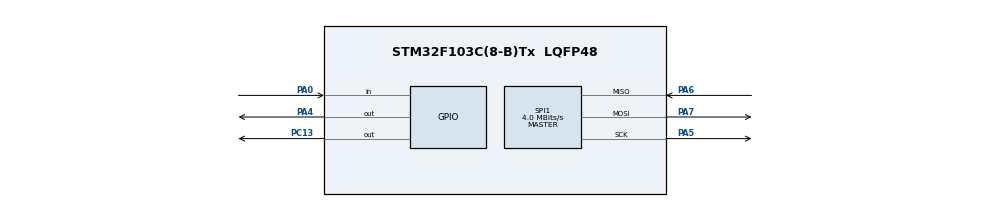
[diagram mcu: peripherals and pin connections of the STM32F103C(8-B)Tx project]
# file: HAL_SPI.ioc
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Mcu.Family=STM32F1
Mcu.Name=STM32F103C(8-B)Tx
Mcu.Package=LQFP48
NVIC.PriorityGroup=NVIC_PRIORITYGROUP_4
PA0-WKUP.GPIO_PuPd=GPIO_PULLUP
PA0-WKUP.Signal=GPIO_Input
PA13.Mode=Serial_Wire
PA13.Signal=SYS_JTMS-SWDIO
PA14.Mode=Serial_Wire
PA14.Signal=SYS_JTCK-SWCLK
PA4.GPIO_Speed=GPIO_SPEED_FREQ_HIGH
PA4.PinState=GPIO_PIN_SET
PA4.Signal=GPIO_Output
PA5.Mode=Full_Duplex_Master
PA5.Signal=SPI1_SCK
PA6.Mode=Full_Duplex_Master
PA6.Signal=SPI1_MISO
PA7.Mode=Full_Duplex_Master
PA7.Signal=SPI1_MOSI
PC13-TAMPER-RTC.GPIO_ModeDefaultOutputPP=GPIO_MODE_OUTPUT_OD
PC13-TAMPER-RTC.GPIO_PuPd=GPIO_NOPULL
PC13-TAMPER-RTC.PinState=GPIO_PIN_SET
PC13-TAMPER-RTC.Signal=GPIO_Output
ProjectManager.HeapSize=0x200
ProjectManager.StackSize=0x400
ProjectManager.TargetToolchain=MDK-ARM V5.32
RCC.APB1Freq_Value=8000000
RCC.APB2Freq_Value=8000000
SPI1.CLKPhase=SPI_PHASE_2EDGE
SPI1.CLKPolarity=SPI_POLARITY_HIGH
SPI1.CalculateBaudRate=4.0 MBits/s
SPI1.Direction=SPI_DIRECTION_2LINES
SPI1.Mode=SPI_MODE_MASTER
SPI1.VirtualType=VM_MASTER
board=custom

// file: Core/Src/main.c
/* USER CODE BEGIN Header */
/**
 ******************************************************************************
 * @file           : main.c
 * @brief          : Main program body
 ******************************************************************************
 * @attention
 *
 * Copyright (c) 2026 STMicroelectronics.
 * All rights reserved.
 *
 * This software is licensed under terms that can be found in the LICENSE file
 * in the root directory of this software component.
 * If no LICENSE file comes with this software, it is provided AS-IS.
 *
 ******************************************************************************
 */
/* USER CODE END Header */
#include "main.h"

/* USER CODE BEGIN PD */
#define KEY_SAMPLE_INTERVAL_MS 2u // 每隔 2 ms 记录一次按键电平
#define W25Q_RECORD_ADDRESS 0x000000u // 第 0 扇区作为按键事件日志区
#define W25Q_RECORD_SECTOR_SIZE 4096u // W25Q 扇区大小
#define DISPLAY_RECORD_COUNT 10u      // OLED 显示最近 10 条记录
#define W25Q_TIMEOUT_MS 5000u        // Flash 擦写最长等待时间
#define OLED_ADDRESS 0x3Cu           // SSD1306 常用 7 位 I2C 地址
/* USER CODE END PD */

static SPI_HandleTypeDef hspi1;

/* USER CODE BEGIN PV */
static uint8_t key_cur = 1;   // 当前确认的稳定按键电平
static uint8_t key_history = 0xFFu; // 最近 8 次采样记录：1=松开，0=按下
static uint32_t key_sample_tick = 0u; // 上一次按键采样时刻
static uint8_t button_records[DISPLAY_RECORD_COUNT] = {0}; // 最近 10 次按键事件
static uint8_t button_record_count = 0u;
static uint16_t flash_record_index = 0u; // Flash 中下一条日志的偏移
/* USER CODE END PV */

static void SystemClock_Config(void);
static void MX_GPIO_Init(void);
static void MX_SPI1_Init(void);
/* USER CODE BEGIN PFP */
static uint8_t W25Q_TransferByte(uint8_t data);
static HAL_StatusTypeDef W25Q_WaitReady(uint32_t timeout_ms);
static uint8_t W25Q_ReadByte(uint32_t address);
static void ButtonRecord_Init(void);
static HAL_StatusTypeDef ButtonRecord_Append(uint8_t value);
static void OLED_Init(void);
static void OLED_ShowButtonRecords(void);

/* USER CODE END PFP */

int main(void)
{

  /* MCU Configuration--------------------------------------------------------*/

  /* Reset of all peripherals, Initializes the Flash interface and the Systick. */
  HAL_Init();

  /* Configure the system clock */
  SystemClock_Config();

  /* Initialize all configured peripherals */
  MX_GPIO_Init();
  MX_SPI1_Init();
  /* USER CODE BEGIN 2 */
  key_cur = (uint8_t)HAL_GPIO_ReadPin(GPIOA, GPIO_PIN_0); // 读取上电时的实际按键电平
  key_history = key_cur == GPIO_PIN_SET ? 0xFFu : 0x00u; // 用初始电平填满采样记录
  key_sample_tick = HAL_GetTick();                       // 初始化周期采样时基
  ButtonRecord_Init();
  OLED_Init();
  OLED_ShowButtonRecords();
  /* USER CODE END 2 */

  /* Infinite loop */
  /* USER CODE BEGIN WHILE */
  while (1)
  {
    if ((HAL_GetTick() - key_sample_tick) >= KEY_SAMPLE_INTERVAL_MS)
    {
      key_sample_tick = HAL_GetTick();
      key_history = (uint8_t)((key_history << 1) |
                              (uint8_t)HAL_GPIO_ReadPin(GPIOA, GPIO_PIN_0)); // 记录最新一次采样

      if ((key_history == 0x00u) && (key_cur != GPIO_PIN_RESET)) // 最近 8 次均为低电平
      {
        key_cur = GPIO_PIN_RESET; // 综合采样结果，确认按键按下
        HAL_GPIO_WritePin(GPIOC, GPIO_PIN_13, GPIO_PIN_RESET); // LED 点亮
        (void)ButtonRecord_Append(1u);
        OLED_ShowButtonRecords(); // 按下记录 1
      }
      else if ((key_history == 0xFFu) && (key_cur != GPIO_PIN_SET)) // 最近 8 次均为高电平
      {
        key_cur = GPIO_PIN_SET; // 综合采样结果，确认按键抬起
        HAL_GPIO_WritePin(GPIOC, GPIO_PIN_13, GPIO_PIN_SET); // LED 熄灭
        (void)ButtonRecord_Append(0u);
        OLED_ShowButtonRecords(); // 松开记录 0
      }
    }
  }
  /* USER CODE END WHILE */

}

static void SystemClock_Config(void)
{
  RCC_OscInitTypeDef RCC_OscInitStruct = {0};
  RCC_ClkInitTypeDef RCC_ClkInitStruct = {0};

  /** Initializes the RCC Oscillators according to the specified parameters
  * in the RCC_OscInitTypeDef structure.
  */
  RCC_OscInitStruct.OscillatorType = RCC_OSCILLATORTYPE_HSI;
  RCC_OscInitStruct.HSIState = RCC_HSI_ON;
  RCC_OscInitStruct.HSICalibrationValue = RCC_HSICALIBRATION_DEFAULT;
  RCC_OscInitStruct.PLL.PLLState = RCC_PLL_NONE;
  if (HAL_RCC_OscConfig(&RCC_OscInitStruct) != HAL_OK)
  {
    Error_Handler();
  }

  /** Initializes the CPU, AHB and APB buses clocks
  */
  RCC_ClkInitStruct.ClockType = RCC_CLOCKTYPE_HCLK|RCC_CLOCKTYPE_SYSCLK
                              |RCC_CLOCKTYPE_PCLK1|RCC_CLOCKTYPE_PCLK2;
  RCC_ClkInitStruct.SYSCLKSource = RCC_SYSCLKSOURCE_HSI;
  RCC_ClkInitStruct.AHBCLKDivider = RCC_SYSCLK_DIV1;
  RCC_ClkInitStruct.APB1CLKDivider = RCC_HCLK_DIV1;
  RCC_ClkInitStruct.APB2CLKDivider = RCC_HCLK_DIV1;

  if (HAL_RCC_ClockConfig(&RCC_ClkInitStruct, FLASH_LATENCY_0) != HAL_OK)
  {
    Error_Handler();
  }
}

static void MX_SPI1_Init(void)
{

  /* SPI1 parameter configuration*/
  hspi1.Instance = SPI1;
  hspi1.Init.Mode = SPI_MODE_MASTER;
  hspi1.Init.Direction = SPI_DIRECTION_2LINES;
  hspi1.Init.DataSize = SPI_DATASIZE_8BIT;
  hspi1.Init.CLKPolarity = SPI_POLARITY_LOW;
  hspi1.Init.CLKPhase = SPI_PHASE_1EDGE;
  hspi1.Init.NSS = SPI_NSS_SOFT;
  hspi1.Init.BaudRatePrescaler = SPI_BAUDRATEPRESCALER_2;
  hspi1.Init.FirstBit = SPI_FIRSTBIT_MSB;
  hspi1.Init.TIMode = SPI_TIMODE_DISABLE;
  hspi1.Init.CRCCalculation = SPI_CRCCALCULATION_DISABLE;
  hspi1.Init.CRCPolynomial = 10;
  if (HAL_SPI_Init(&hspi1) != HAL_OK)
  {
    Error_Handler();
  }

}

static void MX_GPIO_Init(void)
{
  GPIO_InitTypeDef GPIO_InitStruct = {0};
  /* USER CODE BEGIN MX_GPIO_Init_1 */
  __HAL_RCC_GPIOB_CLK_ENABLE();
  /* USER CODE END MX_GPIO_Init_1 */

  /* GPIO Ports Clock Enable */
  __HAL_RCC_GPIOC_CLK_ENABLE();
  __HAL_RCC_GPIOA_CLK_ENABLE();

  /*Configure GPIO pin Output Level */
  HAL_GPIO_WritePin(GPIOC, GPIO_PIN_13, GPIO_PIN_SET);

  /*Configure GPIO pin Output Level */
  HAL_GPIO_WritePin(GPIOA, GPIO_PIN_4, GPIO_PIN_SET);

  /*Configure GPIO pin : PC13 */
  GPIO_InitStruct.Pin = GPIO_PIN_13;
  GPIO_InitStruct.Mode = GPIO_MODE_OUTPUT_OD;
  GPIO_InitStruct.Pull = GPIO_NOPULL;
  GPIO_InitStruct.Speed = GPIO_SPEED_FREQ_LOW;
  HAL_GPIO_Init(GPIOC, &GPIO_InitStruct);

  /*Configure GPIO pin : PA0 */
  GPIO_InitStruct.Pin = GPIO_PIN_0;
  GPIO_InitStruct.Mode = GPIO_MODE_INPUT;
  GPIO_InitStruct.Pull = GPIO_PULLUP;
  HAL_GPIO_Init(GPIOA, &GPIO_InitStruct);

  /*Configure GPIO pin : PA4 */
  GPIO_InitStruct.Pin = GPIO_PIN_4;
  GPIO_InitStruct.Mode = GPIO_MODE_OUTPUT_PP;
  GPIO_InitStruct.Pull = GPIO_NOPULL;
  GPIO_InitStruct.Speed = GPIO_SPEED_FREQ_HIGH;
  HAL_GPIO_Init(GPIOA, &GPIO_InitStruct);

  /* USER CODE BEGIN MX_GPIO_Init_2 */
  HAL_GPIO_WritePin(GPIOB, GPIO_PIN_8 | GPIO_PIN_9, GPIO_PIN_SET);

  GPIO_InitStruct.Pin = GPIO_PIN_8 | GPIO_PIN_9;
  GPIO_InitStruct.Mode = GPIO_MODE_OUTPUT_OD; // 软件 I2C：PB8=SCL，PB9=SDA
  GPIO_InitStruct.Pull = GPIO_PULLUP;
  GPIO_InitStruct.Speed = GPIO_SPEED_FREQ_HIGH;
  HAL_GPIO_Init(GPIOB, &GPIO_InitStruct);

  /* USER CODE END MX_GPIO_Init_2 */
}

/* USER CODE BEGIN 4 */
static void W25Q_Select(void)
{
  HAL_GPIO_WritePin(GPIOA, GPIO_PIN_4, GPIO_PIN_RESET);
}

static void W25Q_Deselect(void)
{
  HAL_GPIO_WritePin(GPIOA, GPIO_PIN_4, GPIO_PIN_SET);
}

static uint8_t W25Q_TransferByte(uint8_t data)
{
  uint8_t received = 0u;
  (void)HAL_SPI_TransmitReceive(&hspi1, &data, &received, 1u, HAL_MAX_DELAY);
  return received;
}

static uint8_t W25Q_ReadStatus(void)
{
  uint8_t status;

  W25Q_Select();
  (void)W25Q_TransferByte(0x05u); // Read Status Register-1
  status = W25Q_TransferByte(0xFFu);
  W25Q_Deselect();
  return status;
}

static HAL_StatusTypeDef W25Q_WaitReady(uint32_t timeout_ms)
{
  uint32_t start_tick = HAL_GetTick();

  while ((W25Q_ReadStatus() & 0x01u) != 0u)
  {
    if ((HAL_GetTick() - start_tick) >= timeout_ms)
    {
      return HAL_TIMEOUT;
    }
  }
  return HAL_OK;
}

static void W25Q_WriteEnable(void)
{
  W25Q_Select();
  (void)W25Q_TransferByte(0x06u); // Write Enable
  W25Q_Deselect();
}

static uint8_t W25Q_ReadByte(uint32_t address)
{
  uint8_t data;

  W25Q_Select();
  (void)W25Q_TransferByte(0x03u); // Read Data
  (void)W25Q_TransferByte((uint8_t)(address >> 16));
  (void)W25Q_TransferByte((uint8_t)(address >> 8));
  (void)W25Q_TransferByte((uint8_t)address);
  data = W25Q_TransferByte(0xFFu);
  W25Q_Deselect();
  return data;
}

static HAL_StatusTypeDef W25Q_EraseSector(uint32_t address)
{
  W25Q_WriteEnable();
  W25Q_Select();
  (void)W25Q_TransferByte(0x20u); // 4 KB Sector Erase
  (void)W25Q_TransferByte((uint8_t)(address >> 16));
  (void)W25Q_TransferByte((uint8_t)(address >> 8));
  (void)W25Q_TransferByte((uint8_t)address);
  W25Q_Deselect();
  return W25Q_WaitReady(W25Q_TIMEOUT_MS);
}

static HAL_StatusTypeDef W25Q_ProgramByte(uint32_t address, uint8_t data)
{
  W25Q_WriteEnable();
  W25Q_Select();
  (void)W25Q_TransferByte(0x02u); // Page Program
  (void)W25Q_TransferByte((uint8_t)(address >> 16));
  (void)W25Q_TransferByte((uint8_t)(address >> 8));
  (void)W25Q_TransferByte((uint8_t)address);
  (void)W25Q_TransferByte(data);
  W25Q_Deselect();
  return W25Q_WaitReady(W25Q_TIMEOUT_MS);
}

static void ButtonRecord_Push(uint8_t value)
{
  uint8_t index;

  if (button_record_count < DISPLAY_RECORD_COUNT)
  {
    button_records[button_record_count] = value;
    button_record_count++;
  }
  else
  {
    for (index = 0u; index < (DISPLAY_RECORD_COUNT - 1u); index++)
    {
      button_records[index] = button_records[index + 1u];
    }
    button_records[DISPLAY_RECORD_COUNT - 1u] = value;
  }
}

static void ButtonRecord_Init(void)
{
  uint16_t index;
  uint8_t value;

  button_record_count = 0u;
  flash_record_index = W25Q_RECORD_SECTOR_SIZE;

  for (index = 0u; index < W25Q_RECORD_SECTOR_SIZE; index++)
  {
    value = W25Q_ReadByte(W25Q_RECORD_ADDRESS + index);
    if (value == 0xFFu)
    {
      flash_record_index = index;
      break;
    }
    if ((value == 0u) || (value == 1u))
    {
      ButtonRecord_Push(value);
    }
  }
}

static HAL_StatusTypeDef ButtonRecord_Append(uint8_t value)
{
  uint32_t address;

  if (flash_record_index >= W25Q_RECORD_SECTOR_SIZE)
  {
    if (W25Q_EraseSector(W25Q_RECORD_ADDRESS) != HAL_OK)
    {
      return HAL_ERROR;
    }
    flash_record_index = 0u;
  }

  address = W25Q_RECORD_ADDRESS + flash_record_index;
  if (W25Q_ProgramByte(address, value) != HAL_OK)
  {
    return HAL_ERROR;
  }
  if (W25Q_ReadByte(address) != value)
  {
    return HAL_ERROR;
  }

  flash_record_index++;
  ButtonRecord_Push(value);
  return HAL_OK;
}

static void OLED_I2C_Delay(void)
{
  volatile uint8_t delay_count;

  for (delay_count = 0u; delay_count < 8u; delay_count++)
  {
    __NOP();
  }
}

static void OLED_I2C_Start(void)
{
  HAL_GPIO_WritePin(GPIOB, GPIO_PIN_9, GPIO_PIN_SET);
  HAL_GPIO_WritePin(GPIOB, GPIO_PIN_8, GPIO_PIN_SET);
  OLED_I2C_Delay();
  HAL_GPIO_WritePin(GPIOB, GPIO_PIN_9, GPIO_PIN_RESET);
  OLED_I2C_Delay();
  HAL_GPIO_WritePin(GPIOB, GPIO_PIN_8, GPIO_PIN_RESET);
}

static void OLED_I2C_Stop(void)
{
  HAL_GPIO_WritePin(GPIOB, GPIO_PIN_9, GPIO_PIN_RESET);
  HAL_GPIO_WritePin(GPIOB, GPIO_PIN_8, GPIO_PIN_SET);
  OLED_I2C_Delay();
  HAL_GPIO_WritePin(GPIOB, GPIO_PIN_9, GPIO_PIN_SET);
  OLED_I2C_Delay();
}

static void OLED_I2C_WriteByte(uint8_t data)
{
  uint8_t bit_index;

  for (bit_index = 0u; bit_index < 8u; bit_index++)
  {
    HAL_GPIO_WritePin(GPIOB, GPIO_PIN_9,
                      ((data & 0x80u) != 0u) ? GPIO_PIN_SET : GPIO_PIN_RESET);
    OLED_I2C_Delay();
    HAL_GPIO_WritePin(GPIOB, GPIO_PIN_8, GPIO_PIN_SET);
    OLED_I2C_Delay();
    HAL_GPIO_WritePin(GPIOB, GPIO_PIN_8, GPIO_PIN_RESET);
    data <<= 1;
  }

  HAL_GPIO_WritePin(GPIOB, GPIO_PIN_9, GPIO_PIN_SET); // 释放 SDA，留出 ACK 时钟
  HAL_GPIO_WritePin(GPIOB, GPIO_PIN_8, GPIO_PIN_SET);
  OLED_I2C_Delay();
  HAL_GPIO_WritePin(GPIOB, GPIO_PIN_8, GPIO_PIN_RESET);
}

static void OLED_Write(uint8_t control, uint8_t data)
{
  OLED_I2C_Start();
  OLED_I2C_WriteByte((uint8_t)(OLED_ADDRESS << 1));
  OLED_I2C_WriteByte(control);
  OLED_I2C_WriteByte(data);
  OLED_I2C_Stop();
}

static void OLED_WriteCommand(uint8_t command)
{
  OLED_Write(0x00u, command);
}

static void OLED_WriteData(uint8_t data)
{
  OLED_Write(0x40u, data);
}

static void OLED_SetPosition(uint8_t page, uint8_t column)
{
  OLED_WriteCommand((uint8_t)(0xB0u | page));
  OLED_WriteCommand((uint8_t)(0x10u | (column >> 4)));
  OLED_WriteCommand((uint8_t)(column & 0x0Fu));
}

static void OLED_Clear(void)
{
  uint8_t page;
  uint8_t column;

  for (page = 0u; page < 8u; page++)
  {
    OLED_SetPosition(page, 0u);
    for (column = 0u; column < 128u; column++)
    {
      OLED_WriteData(0x00u);
    }
  }
}

static void OLED_GetGlyph(char character, uint8_t glyph[5])
{
  static const uint8_t hex_glyphs[16][5] = {
      {0x3Eu, 0x51u, 0x49u, 0x45u, 0x3Eu}, {0x00u, 0x42u, 0x7Fu, 0x40u, 0x00u},
      {0x42u, 0x61u, 0x51u, 0x49u, 0x46u}, {0x21u, 0x41u, 0x45u, 0x4Bu, 0x31u},
      {0x18u, 0x14u, 0x12u, 0x7Fu, 0x10u}, {0x27u, 0x45u, 0x45u, 0x45u, 0x39u},
      {0x3Cu, 0x4Au, 0x49u, 0x49u, 0x30u}, {0x01u, 0x71u, 0x09u, 0x05u, 0x03u},
      {0x36u, 0x49u, 0x49u, 0x49u, 0x36u}, {0x06u, 0x49u, 0x49u, 0x29u, 0x1Eu},
      {0x7Eu, 0x11u, 0x11u, 0x11u, 0x7Eu}, {0x7Fu, 0x49u, 0x49u, 0x49u, 0x36u},
      {0x3Eu, 0x41u, 0x41u, 0x41u, 0x22u}, {0x7Fu, 0x41u, 0x41u, 0x22u, 0x1Cu},
      {0x7Fu, 0x49u, 0x49u, 0x49u, 0x41u}, {0x7Fu, 0x09u, 0x09u, 0x09u, 0x01u}};
  const uint8_t *source = 0;
  uint8_t index;

  if ((character >= '0') && (character <= '9'))
  {
    source = hex_glyphs[(uint8_t)(character - '0')];
  }
  else if ((character >= 'A') && (character <= 'F'))
  {
    source = hex_glyphs[(uint8_t)(character - 'A') + 10u];
  }
  else
  {
    static const uint8_t glyph_l[5] = {0x7Fu, 0x40u, 0x40u, 0x40u, 0x40u};
    static const uint8_t glyph_s[5] = {0x46u, 0x49u, 0x49u, 0x49u, 0x31u};
    static const uint8_t glyph_h[5] = {0x7Fu, 0x08u, 0x08u, 0x08u, 0x7Fu};
    static const uint8_t glyph_colon[5] = {0x00u, 0x36u, 0x36u, 0x00u, 0x00u};
    static const uint8_t glyph_x[5] = {0x44u, 0x28u, 0x10u, 0x28u, 0x44u};
    static const uint8_t glyph_space[5] = {0u, 0u, 0u, 0u, 0u};

    if (character == 'L') source = glyph_l;
    else if (character == 'S') source = glyph_s;
    else if (character == 'H') source = glyph_h;
    else if (character == ':') source = glyph_colon;
    else if (character == 'x') source = glyph_x;
    else source = glyph_space;
  }

  for (index = 0u; index < 5u; index++)
  {
    glyph[index] = source[index];
  }
}

static void OLED_DrawChar(char character)
{
  uint8_t glyph[5];
  uint8_t column;

  OLED_GetGlyph(character, glyph);
  for (column = 0u; column < 5u; column++)
  {
    OLED_WriteData(glyph[column]);
  }
  OLED_WriteData(0x00u);
}

static void OLED_ShowButtonRecords(void)
{
  uint8_t index;

  OLED_SetPosition(3u, 34u);
  for (index = 0u; index < DISPLAY_RECORD_COUNT; index++)
  {
    if (index < button_record_count)
    {
      OLED_DrawChar(button_records[index] != 0u ? '1' : '0');
    }
    else
    {
      OLED_DrawChar(' ');
    }
  }
}

static void OLED_Init(void)
{
  HAL_Delay(100u);
  OLED_WriteCommand(0xAEu);
  OLED_WriteCommand(0xD5u); OLED_WriteCommand(0x80u);
  OLED_WriteCommand(0xA8u); OLED_WriteCommand(0x3Fu);
  OLED_WriteCommand(0xD3u); OLED_WriteCommand(0x00u);
  OLED_WriteCommand(0x40u);
  OLED_WriteCommand(0x8Du); OLED_WriteCommand(0x14u);
  OLED_WriteCommand(0x20u); OLED_WriteCommand(0x02u);
  OLED_WriteCommand(0xA1u);
  OLED_WriteCommand(0xC8u);
  OLED_WriteCommand(0xDAu); OLED_WriteCommand(0x12u);
  OLED_WriteCommand(0x81u); OLED_WriteCommand(0xCFu);
  OLED_WriteCommand(0xD9u); OLED_WriteCommand(0xF1u);
  OLED_WriteCommand(0xDBu); OLED_WriteCommand(0x30u);
  OLED_WriteCommand(0xA4u);
  OLED_WriteCommand(0xA6u);
  OLED_WriteCommand(0xAFu);
  OLED_Clear();
}

/* USER CODE END 4 */

void Error_Handler(void)
{
  __disable_irq();
  while (1)
  {
  }
}
